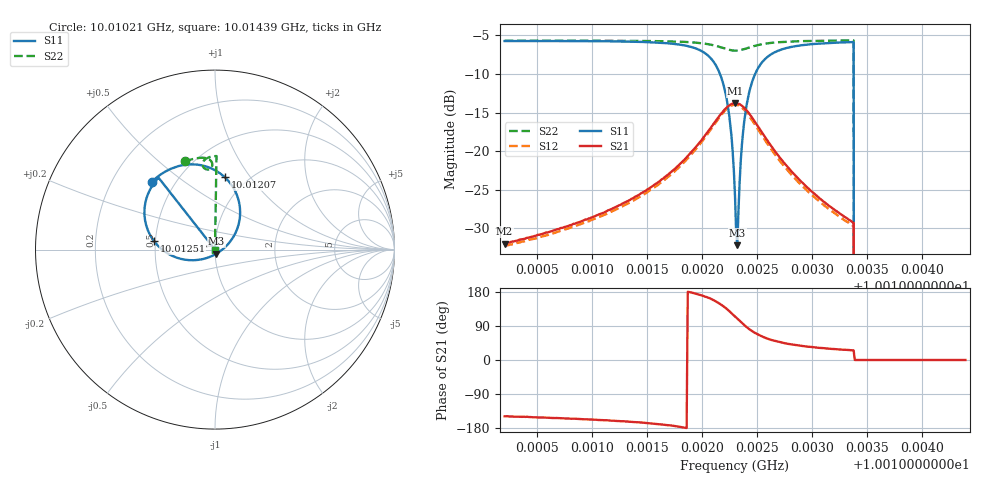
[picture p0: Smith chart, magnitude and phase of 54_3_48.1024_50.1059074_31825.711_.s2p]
#  HZ  S  RI  R  50.00
! Rohde & Schwarz Vector Network Analyzer
! Rohde-Schwarz,ZNB20-2Port,1311601062101988,3.16
! Created: UTC 12/23/2023, 3:40:06 AM
! freq[Hz]  re:S11  im:S11  re:S21  im:S21  re:S12  im:S12  re:S22  im:S22
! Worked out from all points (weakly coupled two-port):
!   401 points, 10.01021 GHz to 10.01439 GHz, reference 50 ohm
!   highest |S21| = -13.78 dB at 10.0123 GHz (marker M1); lowest = -32.0 dB at 10.01021 GHz (marker M2)
!   lowest |S11| = -32.2 dB at 10.01232 GHz (marker M3), VSWR 1.05, Z = 50.6 - j2.38 ohm
!   |S11| at or under -10 dB: 10.01216 GHz to 10.01248 GHz (319.3 kHz wide, 0.00319 % of centre); 10.01338 GHz to end of sweep
!   |S22| runs from - to -5.7 dB; largest |S21 - S12| = 0.0096
!   S11 on the Smith chart (normalised r, x): 10.01021 GHz: 0.37, +0.38; 10.01207 GHz: 0.79, +0.76; 10.01251 GHz: 0.49, +0.05; 10.01439 GHz: 1.00, +0.00
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1.001021e10  -0.3527 0.378  -0.0215 -0.0131  -0.02 -0.0136  -0.1683 0.4911
1.001091e10  -0.2965 0.4227  -0.0322 -0.0142  -0.0302 -0.0153  -0.1223 0.5048
1.0011611e10  -0.1854 0.4695  -0.0623 -0.012  -0.0594 -0.0145  -0.0686 0.5117
1.0011914e10  -0.0622 0.4668  -0.1 0.00465  -0.0969 -0.000642  -0.038 0.5056
1.0012071e10  0.0544 0.4033  -0.1325 0.0406  -0.1308 0.0327  -0.0203 0.491
1.0012165e10  0.1273 0.2883  -0.145 0.0909  -0.1462 0.0814  -0.0149 0.4727
1.0012227e10  0.1364 0.1629  -0.1347 0.1374  -0.1375 0.1292  -0.0198 0.4575
1.0012269e10  0.1023 0.0706  -0.1115 0.168  -0.1156 0.1604  -0.0289 0.4494
1.0012301e10  0.0506 0.0081  -0.0857 0.1859  -0.0897 0.1789  -0.0381 0.4463
1.0012311e10  0.0287 -0.00931  -0.0759 0.19  -0.08 0.1831  -0.0413 0.4461
1.0012321e10  0.00698 -0.0235  -0.0663 0.1929  -0.0697 0.1867  -0.0446 0.4462
1.0012332e10  -0.0186 -0.0365  -0.0559 0.195  -0.06 0.1885  -0.0476 0.4468
1.0012363e10  -0.0939 -0.0572  -0.0263 0.1953  -0.0307 0.1888  -0.0562 0.4505
1.0012395e10  -0.1668 -0.0562  0.000991 0.1878  -0.0037 0.1816  -0.0631 0.4566
1.0012447e10  -0.2672 -0.0191  0.0352 0.1647  0.0292 0.1593  -0.0685 0.4687
1.001251e10  -0.3413 0.0495  0.056 0.1332  0.05 0.1288  -0.0681 0.4824
1.0012719e10  -0.3924 0.2298  0.0612 0.0642  0.0558 0.0634  -0.049 0.5072
1.0013001e10  -0.36 0.338  0.0451 0.0307  0.0415 0.031  -0.0218 0.5176
1.0013356e10  -0.3167 0.3981  0.0316 0.0153  0.0292 0.016  0.0068 0.5214
1.0013409e10  0 0  0 0  0 0  0 0
1.0013701e10  0 0  0 0  0 0  0 0
1.0014391e10  0 0  0 0  0 0  0 0
